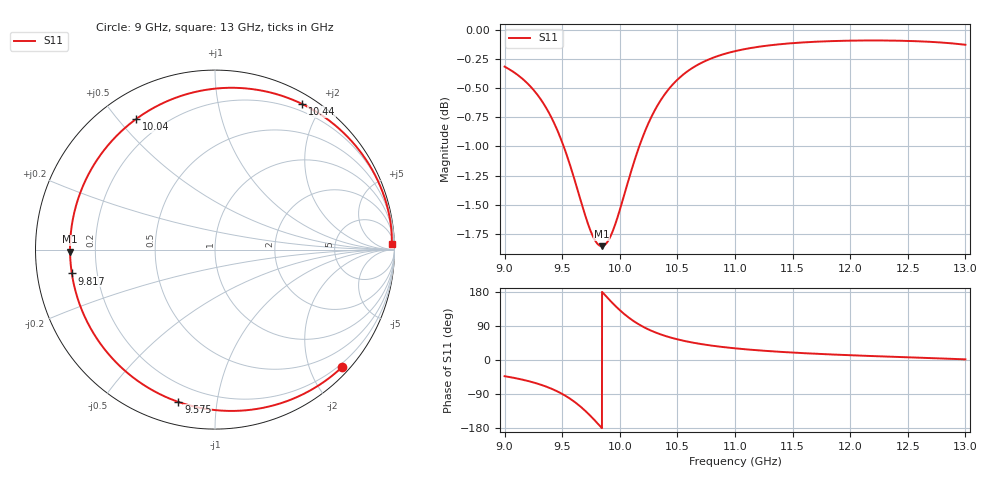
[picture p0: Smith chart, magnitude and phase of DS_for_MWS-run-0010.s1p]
! TOUCHSTONE file generated by CST DESIGN STUDIO
! Date and time: Tue Feb  4 18:24:30 2025
! Project name: C:\Work\MatlabApps\UnitCellOptimizationMatlab\CST\unitcell.cst
! Tree item: Tasks\Sweep1\SPara1\S-Parameters
! Header version: 2024
! Port assignment regex: !\s*Touchstone port\s*([0-9]+)\s*=\s*(CST MWS port|CST DES external port|CST DES block port)\s*(.+)\s* \(\"(.*)\"\)(\s*mode\s*([0-9]+))?.*
! Touchstone port assignment:
! Touchstone port 1 = CST DES external port 1 ("")
# GHz S MA R 50
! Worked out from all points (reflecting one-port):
!   4001 points, 9 GHz to 13 GHz, reference 50 ohm
!   lowest |S11| = -1.9 dB at 9.843 GHz (marker M1), VSWR 9.40, Z = 5.32 - j0.339 ohm
!   phase of S11 starts at -43 deg and turns -316 deg over the sweep
!   S11 on the Smith chart (normalised r, x): 9 GHz: 0.14, -2.55; 9.575 GHz: 0.11, -0.78; 9.817 GHz: 0.11, -0.08; 10.04 GHz: 0.11, +0.56; 10.44 GHz: 0.11, +1.76; 13 GHz: 26, +54
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9  0.9643 -42.7
9.146  0.9536 -51.3
9.278  0.9389 -61.7
9.392  0.92 -73.9
9.5  0.8949 -89.5
9.575  0.8728 -103.5
9.636  0.853 -117.3
9.693  0.8347 -132.2
9.76  0.817 -152.1
9.817  0.8087 -170.6
9.843  0.8078 -179.2
9.878  0.8095 169.1
9.915  0.8148 157.1
9.959  0.825 143.4
10  0.8371 131.5
10.039  0.8499 121.2
10.113  0.8744 104.1
10.196  0.8989 88.7
10.314  0.9256 72.1
10.443  0.9455 59.1
10.5  0.952 54.5
10.602  0.961 47.7
10.717  0.9684 41.5
11  0.9791 30.8
11.5  0.9869 19.6
12  0.9893 12.6
12.5  0.9891 7.1
13  0.9853 1.7
